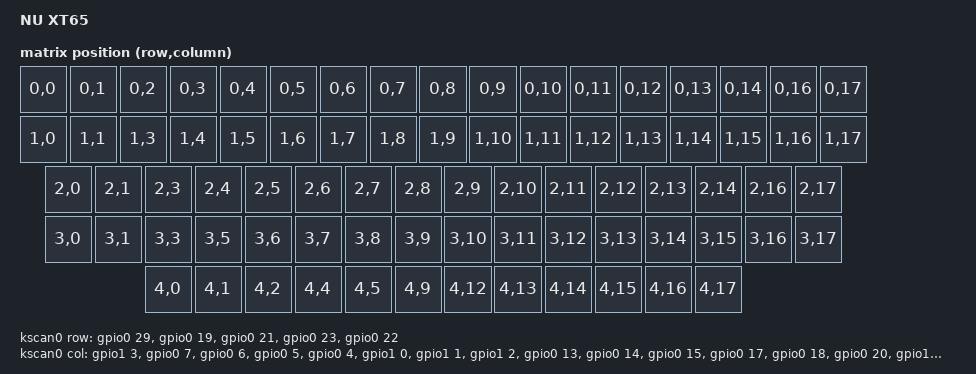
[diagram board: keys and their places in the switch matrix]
/*
 * Copyright (c) 2020 Nordic Semiconductor ASA
 *
 * SPDX-License-Identifier: Apache-2.0
 */

 /dts-v1/;
 #include <nordic/nrf5340_cpuapp_qkaa.dtsi>
 #include <dt-bindings/zmk/matrix_transform.h>
 #include "nrf5340_cpuapp_common.dtsi"
 
 / {
     model = "NU XT65";
     compatible = "nordic,nu-xt65-cpuapp";
 
     chosen {
         zephyr,sram = &sram0_image;
         zephyr,flash = &flash0;
         zephyr,code-partition = &slot0_partition;
         zephyr,sram-secure-partition = &sram0_s;
         zephyr,sram-non-secure-partition = &sram0_ns;
         zmk,kscan = &kscan0;
         zmk,matrix-transform = &default_transform;
     };
     
	default_transform: keymap_transform_0 {
        compatible = "zmk,matrix-transform";
        columns = <18>;
        rows = <5>;
        map = <
            RC(0,0) RC(0,1) RC(0,2) RC(0,3) RC(0,4) RC(0,5) RC(0,6) RC(0,7) RC(0,8) RC(0,9) RC(0,10) RC(0,11) RC(0,12) RC(0,13) RC(0,14)   RC(0,16)   RC(0,17)
            RC(1,0) RC(1,1)  RC(1,3)  RC(1,4) RC(1,5) RC(1,6) RC(1,7) RC(1,8) RC(1,9) RC(1,10) RC(1,11) RC(1,12) RC(1,13) RC(1,14) RC(1,15)  RC(1,16) RC(1,17)
            RC(2,0) RC(2,1)    RC(2,3)    RC(2,4) RC(2,5) RC(2,6) RC(2,7) RC(2,8) RC(2,9) RC(2,10) RC(2,11) RC(2,12) RC(2,13) RC(2,14)    RC(2,16)    RC(2,17)
            RC(3,0) RC(3,1)      RC(3,3)     RC(3,5) RC(3,6) RC(3,7) RC(3,8) RC(3,9) RC(3,10) RC(3,11) RC(3,12) RC(3,13) RC(3,14)  RC(3,15)  RC(3,16) RC(3,17)
            RC(4,0) RC(4,1)   RC(4,2)   RC(4,4)   RC(4,5)                   RC(4,9)                      RC(4,12) RC(4,13) RC(4,14) RC(4,15) RC(4,16) RC(4,17)
        >;
    };

    kscan0: kscan_0 {
        compatible = "zmk,kscan-gpio-matrix";
        wakeup-source;

        diode-direction = "col2row";

        col-gpios
            = <&gpio1 3 GPIO_ACTIVE_HIGH>
            , <&gpio0 7 GPIO_ACTIVE_HIGH>
            , <&gpio0 6 GPIO_ACTIVE_HIGH>
            , <&gpio0 5 GPIO_ACTIVE_HIGH>
            , <&gpio0 4 GPIO_ACTIVE_HIGH>
            , <&gpio1 0 GPIO_ACTIVE_HIGH>
            , <&gpio1 1 GPIO_ACTIVE_HIGH>
            , <&gpio1 2 GPIO_ACTIVE_HIGH>
            , <&gpio0 13 GPIO_ACTIVE_HIGH>
            , <&gpio0 14 GPIO_ACTIVE_HIGH>
            , <&gpio0 15 GPIO_ACTIVE_HIGH>
            , <&gpio0 17 GPIO_ACTIVE_HIGH>
            , <&gpio0 18 GPIO_ACTIVE_HIGH>
            , <&gpio0 20 GPIO_ACTIVE_HIGH>
            , <&gpio1 5 GPIO_ACTIVE_HIGH>
            , <&gpio1 7 GPIO_ACTIVE_HIGH>
            , <&gpio1 9 GPIO_ACTIVE_HIGH>
            , <&gpio0 25 GPIO_ACTIVE_HIGH>
            ;

        row-gpios
            = <&gpio0 29 (GPIO_ACTIVE_HIGH | GPIO_PULL_DOWN)>
            , <&gpio0 19 (GPIO_ACTIVE_HIGH | GPIO_PULL_DOWN)>
            , <&gpio0 21 (GPIO_ACTIVE_HIGH | GPIO_PULL_DOWN)>
            , <&gpio0 23 (GPIO_ACTIVE_HIGH | GPIO_PULL_DOWN)>
            , <&gpio0 22 (GPIO_ACTIVE_HIGH | GPIO_PULL_DOWN)>
            ;
    };
 };
 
